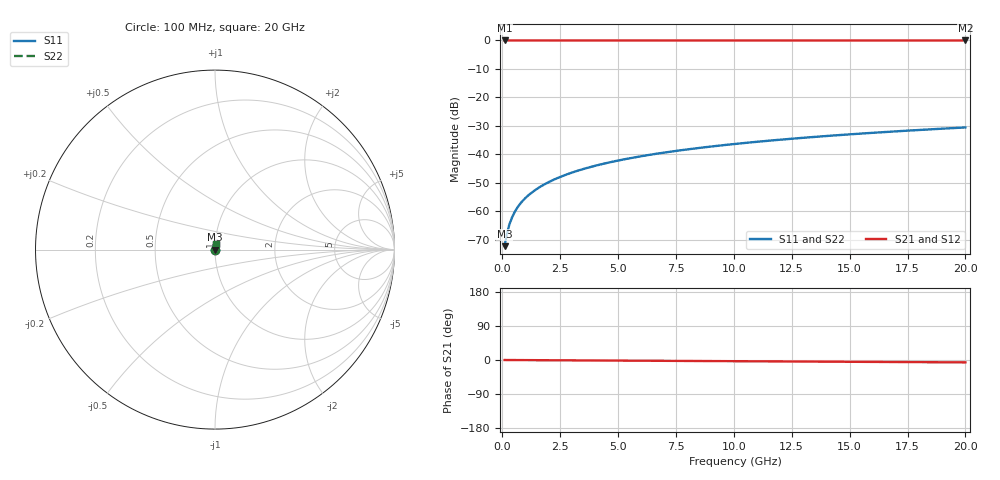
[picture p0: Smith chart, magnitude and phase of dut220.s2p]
! Touchstone file exported from HFSS 2026.1.0
!  File:  C:/ffzhzh/LocalFiles/Ansys_Project_Files/temp_train_TSV_220_1782992158_42984.aedt
!  Generated:  07:37:38 PM Jul  2, 2026
!  Design:  TSV
!  Project:  temp_train_TSV_220_1782992158_42984
! Variables:
!  h_bsmrdl = 2um
!  h_ox = 20um
!  h_rdl = 5um
!  h_sub = 56.89um
!  h_tmrdl = 5um
!  h_tsv = 56.89um
!  h_via = 3um
!  l_bsmrdl = 300um
!  l_sub = 414.58um
!  l_tmrdl = 200um
!  m_sub = 200um
!  pitch = 41.05um
!  r_tsv = 7.29um
!  s_tmrdl = 10um
!  w_bsmrdl = 18um
!  w_sub = 500um
!  w_tmrdl = 12um
!  x_tsv_center1 = 206um
!  x_tsv_center2 = 524um
!  x_tsv_center3 = 736um
!  x_tsv_center4 = 1054um
!  x_tsv_center5 = 1266um
!  x_tsv_center6 = 1584um
# GHz S MA R 50.000000
! Terminal data exported
! Port[1] = TSV1_1_T1
! Port[2] = TSV1_1_T2
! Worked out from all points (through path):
!   200 points, 100 MHz to 20 GHz, reference 50 ohm
!   highest |S21| = 0.00 dB at 100 MHz (marker M1); lowest = 0.0 dB at 20 GHz (marker M2)
!   lowest |S11| = -72.3 dB at 100 MHz (marker M3), VSWR 1.00, Z = 50 + j0.0183 ohm
!   |S11| at or under -10 dB: start of sweep to end of sweep
!   |S22| runs from -72.3 to -30.6 dB; largest |S21 - S12| = 2.1e-15
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0.1  0.0002423 49.0  0.9998 -0.0  0.9998 -0.0  0.0002423 49.0
! Gamma 0 0 0 0
! Port Impedance 50 0 50 0
0.2  0.0004006 65.1  0.9998 -0.1  0.9998 -0.1  0.0004006 65.1
0.3  0.0005705 71.3  0.9998 -0.1  0.9998 -0.1  0.0005705 71.3
0.4  0.0007404 74.3  0.9998 -0.1  0.9998 -0.1  0.0007404 74.3
0.5  0.0009077 76.0  0.9998 -0.2  0.9998 -0.2  0.0009077 76.0
0.6  0.001072 77.2  0.9998 -0.2  0.9998 -0.2  0.001072 77.2
0.7  0.001233 78.0  0.9997 -0.2  0.9997 -0.2  0.001233 78.0
0.8  0.001391 78.6  0.9997 -0.3  0.9997 -0.3  0.001391 78.6
1  0.001703 79.6  0.9997 -0.3  0.9997 -0.3  0.001703 79.6
1.4  0.002317 81.1  0.9997 -0.5  0.9997 -0.5  0.002317 81.1
1.7  0.002774 81.8  0.9996 -0.5  0.9996 -0.5  0.002774 81.8
2  0.003231 82.4  0.9996 -0.6  0.9996 -0.6  0.003231 82.4
2.7  0.004295 83.2  0.9995 -0.9  0.9995 -0.9  0.004295 83.2
3.5  0.005505 83.7  0.9995 -1.1  0.9995 -1.1  0.005505 83.7
4.2  0.006556 83.9  0.9994 -1.3  0.9994 -1.3  0.006556 83.9
5  0.007751 84.0  0.9994 -1.6  0.9994 -1.6  0.007751 84.0
6.8  0.01041 84.0  0.9992 -2.2  0.9992 -2.2  0.01041 84.0
8.3  0.01262 83.8  0.9991 -2.6  0.9991 -2.6  0.01262 83.8
10.1  0.01525 83.6  0.999 -3.2  0.999 -3.2  0.01525 83.6
13.4  0.02006 83.0  0.9988 -4.2  0.9988 -4.2  0.02006 83.0
16.7  0.02484 82.2  0.9986 -5.3  0.9986 -5.3  0.02484 82.2
20  0.02958 81.4  0.9983 -6.3  0.9983 -6.3  0.02958 81.4
